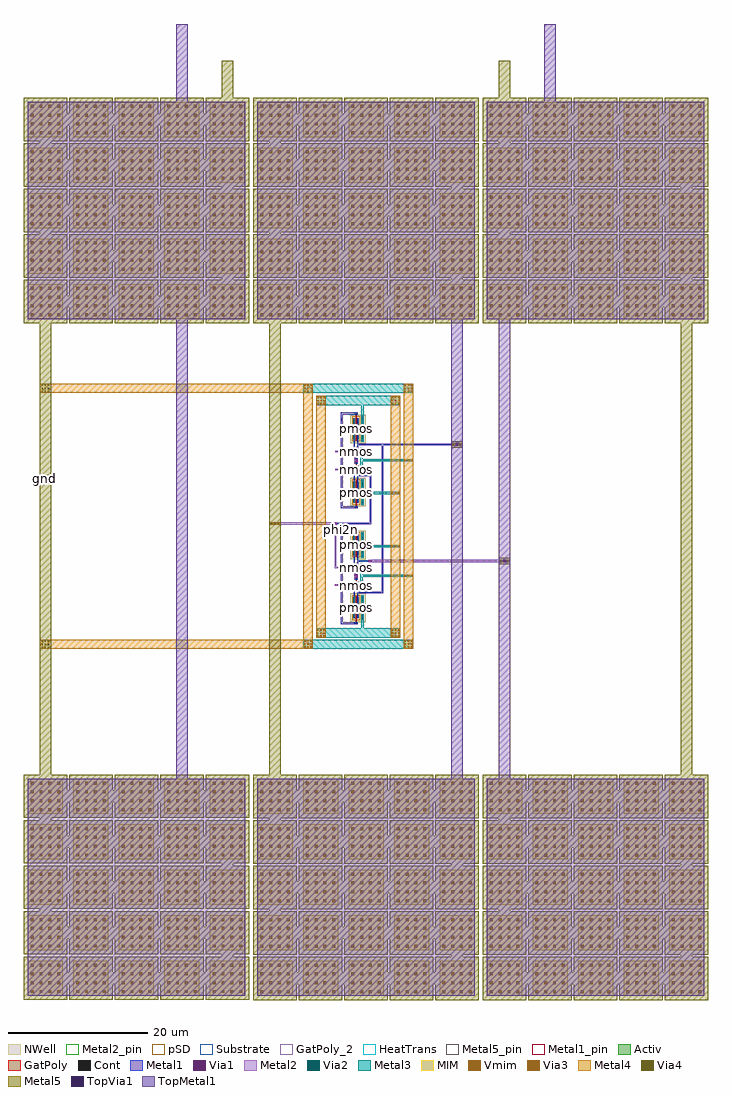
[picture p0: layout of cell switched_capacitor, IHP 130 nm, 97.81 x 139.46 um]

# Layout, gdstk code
import gdstk
lib = gdstk.Library(unit=1e-6, precision=1e-09)
def R(c, l, rs):  # rectangles x0, y0, x1, y1
    for r in rs: c.add(gdstk.rectangle(r[:2], r[2:], *l))
def A(c, l, x, y, w, h, nx, ny, dx, dy):  # array of equal rectangles
    R(c, l, [(x+i*dx, y+j*dy, x+i*dx+w, y+j*dy+h) for i in range(nx) for j in range(ny)])
Activ = (1, 0)
GatPoly = (5, 0)
GatPoly_2 = (5, 2)
Cont = (6, 0)
Metal1 = (8, 0)
Metal1_pin = (8, 2)
Metal2 = (10, 0)
Metal2_pin = (10, 2)
pSD = (14, 0)
Via1 = (19, 0)
Via2 = (29, 0)
Metal3 = (30, 0)
NWell = (31, 0)
MIM = (36, 0)
Substrate = (40, 0)
Via3 = (49, 0)
Metal4 = (50, 0)
HeatTrans = (51, 0)
Via4 = (66, 0)
Metal5 = (67, 0)
Metal5_pin = (67, 2)
TopVia1 = (125, 0)
TopMetal1 = (126, 0)
Vmim = (129, 0)

cmim_1 = lib.new_cell('cmim$1')
R(cmim_1, MIM, [(0,0,5,5)])
R(cmim_1, Metal5, [(-0.6,-0.6,5.6,5.6)])
R(cmim_1, TopMetal1, [(-0.02,-0.02,5.02,5.02)])
A(cmim_1, Vmim, 0.4, 0.4, 0.42, 0.42, 4, 4, 1.26, 1.26)

switched_capacitor = lib.new_cell('switched_capacitor')
R(switched_capacitor, Activ, [(22.9,-24.975,23.25,-21.365), (21.78,-24.675,22.59,-21.675), (21.78,-21.975,22.08,-21.675), (22.29,-21.975,22.59,-21.675), (22.8,-20.525,23.165,-19.36), (21.78,-20.435,22.59,-19.435), (21.78,-19.735,22.08,-19.435), (22.29,-19.735,22.59,-19.435), (22.8,-17.98,23.165,-16.815), (21.78,-17.905,22.08,-17.605), (21.78,-17.905,22.59,-16.905), (22.29,-17.905,22.59,-17.605), (22.9,-15.975,23.25,-12.365), (21.78,-15.665,22.08,-15.365), (21.78,-15.665,22.59,-12.665), (22.29,-15.665,22.59,-15.365), (22.9,-8.425,23.25,-4.815), (21.78,-8.125,22.59,-5.125), (21.78,-5.425,22.08,-5.125), (22.29,-5.425,22.59,-5.125), (22.8,-3.975,23.165,-2.81), (21.78,-3.885,22.59,-2.885), (21.78,-3.185,22.08,-2.885), (22.29,-3.185,22.59,-2.885), (22.8,-1.41,23.165,-0.245), (21.78,-1.335,22.08,-1.035), (21.78,-1.335,22.59,-0.335), (22.29,-1.335,22.59,-1.035), (22.9,0.595,23.25,4.205), (21.78,0.905,22.08,1.205), (21.78,0.905,22.59,3.905), (22.29,0.905,22.59,1.205)])
R(switched_capacitor, GatPoly, [(21.95,-25.52,22.44,-25.215), (22.12,-25.22,22.25,-24.81), (22.12,-24.855,22.25,-24.035), (22.12,-24.855,22.25,-21.495), (22.12,-24.855,22.25,-21.495), (22.12,-20.615,22.25,-19.255), (22.12,-19.435,22.25,-19.025), (21.945,-19.155,22.435,-18.85), (21.945,-18.49,22.435,-18.185), (22.12,-18.315,22.25,-17.905), (22.12,-18.085,22.25,-16.725), (22.12,-15.845,22.25,-12.485), (22.12,-15.845,22.25,-12.485), (22.12,-13.305,22.25,-12.485), (22.12,-12.53,22.25,-12.12), (21.95,-12.125,22.44,-11.82), (21.95,-8.97,22.44,-8.665), (22.12,-8.67,22.25,-8.26), (22.12,-8.305,22.25,-7.485), (22.12,-8.305,22.25,-4.945), (22.12,-8.305,22.25,-4.945), (22.12,-4.065,22.25,-2.705), (22.12,-2.885,22.25,-2.475), (21.94,-2.605,22.43,-2.3), (21.94,-1.92,22.43,-1.615), (22.12,-1.745,22.25,-1.335), (22.12,-1.515,22.25,-0.155), (22.12,0.725,22.25,4.085), (22.12,0.725,22.25,4.085), (22.12,3.265,22.25,4.085), (22.12,4.04,22.25,4.45), (21.95,4.445,22.44,4.75)])
R(switched_capacitor, GatPoly_2, [(22.12,-20.615,22.25,-19.255), (22.12,-18.085,22.25,-16.725), (22.12,-4.065,22.25,-2.705), (22.12,-1.515,22.25,-0.155)])
A(switched_capacitor, Cont, 21.85, -24.215, 0.16, 0.16, 1, 7, 0, 0.385)
A(switched_capacitor, Cont, 22.36, -24.215, 0.16, 0.16, 1, 7, 0, 0.385)
A(switched_capacitor, Cont, 22.995, -22.445, 0.16, 0.16, 1, 3, 0, 0.37)
A(switched_capacitor, Cont, 22.36, -20.365, 0.16, 0.16, 1, 3, 0, 0.35)
A(switched_capacitor, Cont, 22.36, -17.835, 0.16, 0.16, 1, 3, 0, 0.35)
A(switched_capacitor, Cont, 22.995, -15.795, 0.16, 0.16, 1, 3, 0, 0.37)
A(switched_capacitor, Cont, 21.85, -15.595, 0.16, 0.16, 1, 7, 0, 0.385)
A(switched_capacitor, Cont, 22.36, -15.595, 0.16, 0.16, 1, 7, 0, 0.385)
A(switched_capacitor, Cont, 21.85, -7.665, 0.16, 0.16, 1, 7, 0, 0.385)
A(switched_capacitor, Cont, 22.36, -7.665, 0.16, 0.16, 1, 7, 0, 0.385)
A(switched_capacitor, Cont, 22.995, -5.895, 0.16, 0.16, 1, 3, 0, 0.37)
A(switched_capacitor, Cont, 22.36, -3.815, 0.16, 0.16, 1, 3, 0, 0.35)
A(switched_capacitor, Cont, 21.85, -1.265, 0.16, 0.16, 1, 3, 0, 0.35)
A(switched_capacitor, Cont, 22.36, -1.265, 0.16, 0.16, 1, 3, 0, 0.35)
A(switched_capacitor, Cont, 22.995, 0.775, 0.16, 0.16, 1, 3, 0, 0.37)
A(switched_capacitor, Cont, 21.85, 0.975, 0.16, 0.16, 1, 7, 0, 0.385)
A(switched_capacitor, Cont, 22.36, 0.975, 0.16, 0.16, 1, 7, 0, 0.385)
R(switched_capacitor, Cont, [(22.11,-25.45,22.27,-25.29), (22.995,-24.695,23.155,-24.535), (21.85,-24.605,22.01,-24.445), (22.36,-24.605,22.52,-24.445), (22.995,-24.325,23.155,-24.165), (22.995,-23.94,23.155,-23.78), (22.995,-23.585,23.155,-23.425), (22.995,-23.2,23.155,-23.04), (22.995,-22.83,23.155,-22.67), (22.9,-20.405,23.06,-20.245), (21.85,-20.365,22.01,-20.205), (21.85,-20.365,22.01,-20.205), (21.85,-20.365,22.01,-20.205), (22.9,-20.02,23.06,-19.86), (21.85,-20.015,22.01,-19.855), (21.85,-20.015,22.01,-19.855), (21.85,-20.015,22.01,-19.855), (21.85,-19.665,22.01,-19.505), (21.85,-19.665,22.01,-19.505), (21.85,-19.665,22.01,-19.505), (22.9,-19.665,23.06,-19.505), (22.105,-19.085,22.265,-18.925), (22.105,-18.415,22.265,-18.255), (21.85,-17.835,22.01,-17.675), (21.85,-17.835,22.01,-17.675), (21.85,-17.835,22.01,-17.675), (22.9,-17.835,23.06,-17.675), (21.85,-17.485,22.01,-17.325), (21.85,-17.485,22.01,-17.325), (21.85,-17.485,22.01,-17.325), (22.9,-17.48,23.06,-17.32), (21.85,-17.135,22.01,-16.975), (21.85,-17.135,22.01,-16.975), (21.85,-17.135,22.01,-16.975), (22.9,-17.095,23.06,-16.935), (22.995,-14.67,23.155,-14.51), (22.995,-14.3,23.155,-14.14), (22.995,-13.915,23.155,-13.755), (22.995,-13.56,23.155,-13.4), (22.995,-13.175,23.155,-13.015), (21.85,-12.895,22.01,-12.735), (22.36,-12.895,22.52,-12.735), (22.995,-12.805,23.155,-12.645), (22.11,-12.05,22.27,-11.89), (22.11,-8.9,22.27,-8.74), (22.995,-8.145,23.155,-7.985), (21.85,-8.055,22.01,-7.895), (22.36,-8.055,22.52,-7.895), (22.995,-7.775,23.155,-7.615), (22.995,-7.39,23.155,-7.23), (22.995,-7.035,23.155,-6.875), (22.995,-6.65,23.155,-6.49), (22.995,-6.28,23.155,-6.12), (22.9,-3.855,23.06,-3.695), (21.85,-3.815,22.01,-3.655), (21.85,-3.815,22.01,-3.655), (22.9,-3.47,23.06,-3.31), (21.85,-3.465,22.01,-3.305), (21.85,-3.465,22.01,-3.305), (21.85,-3.115,22.01,-2.955), (21.85,-3.115,22.01,-2.955), (22.9,-3.115,23.06,-2.955), (22.1,-2.535,22.26,-2.375), (22.105,-1.845,22.265,-1.685), (22.9,-1.265,23.06,-1.105), (22.9,-0.91,23.06,-0.75), (22.9,-0.525,23.06,-0.365), (22.995,1.9,23.155,2.06), (22.995,2.27,23.155,2.43), (22.995,2.655,23.155,2.815), (22.995,3.01,23.155,3.17), (22.995,3.395,23.155,3.555), (21.85,3.675,22.01,3.835), (22.36,3.675,22.52,3.835), (22.995,3.765,23.155,3.925), (22.11,4.52,22.27,4.68)])
R(switched_capacitor, Metal1, [(19.985,-25.54,20.29,-11.82), (19.985,-25.52,22.44,-25.215), (21.95,-25.52,22.44,-25.215), (22.9,-24.975,23.25,-21.365), (21.85,-24.675,22.01,-21.675), (21.85,-24.675,22.01,-21.675), (22.36,-24.675,22.52,-21.675), (22.36,-24.675,22.52,-21.675), (21.85,-21.745,22.01,-20.365), (22.36,-21.745,22.52,-20.365), (22.36,-21.075,26.05,-20.86), (25.815,-21.075,26.05,0.285), (22.8,-20.525,23.165,-19.36), (21.61,-20.435,22.01,-19.435), (21.85,-20.435,22.01,-19.435), (21.85,-20.435,22.01,-19.435), (21.85,-20.435,22.01,-19.435), (22.36,-20.435,22.52,-19.435), (21.945,-19.155,22.435,-18.85), (21.945,-19.155,22.435,-18.185), (21.945,-18.49,22.435,-18.185), (22.8,-17.98,23.165,-16.815), (21.61,-17.905,22.01,-16.905), (21.85,-17.905,22.01,-16.905), (21.85,-17.905,22.01,-16.905), (21.85,-17.905,22.01,-16.905), (22.36,-17.905,22.52,-16.905), (21.85,-16.975,22.01,-15.595), (22.36,-16.975,22.52,-15.595), (24.02,-16.66,24.445,-16.285), (22.36,-16.57,24.33,-16.355), (22.9,-15.975,23.25,-12.365), (21.85,-15.665,22.01,-12.665), (21.85,-15.665,22.01,-12.665), (22.36,-15.665,22.52,-12.665), (22.36,-15.665,22.52,-12.665), (19.985,-12.125,22.44,-11.82), (21.95,-12.125,22.44,-11.82), (19,-11.325,19.425,-10.95), (19.1,-11.24,24.33,-11.025), (24.115,-11.24,24.33,-4.175), (19.985,-8.97,22.44,-8.665), (19.985,-8.97,20.29,4.75), (21.95,-8.97,22.44,-8.665), (22.9,-8.425,23.25,-4.815), (21.85,-8.125,22.01,-5.125), (21.85,-8.125,22.01,-5.125), (22.36,-8.125,22.52,-5.125), (22.36,-8.125,22.52,-5.125), (21.85,-5.195,22.01,-3.815), (22.36,-5.195,22.52,-3.815), (22.36,-4.39,24.33,-4.175), (22.8,-3.975,23.165,-2.81), (21.61,-3.885,22.01,-2.885), (21.85,-3.885,22.01,-2.885), (21.85,-3.885,22.01,-2.885), (22.36,-3.885,22.52,-2.885), (21.94,-2.605,22.43,-2.3), (21.94,-2.605,22.43,-1.615), (21.94,-1.92,22.43,-1.615), (22.8,-1.41,23.165,-0.245), (21.61,-1.335,22.01,-0.335), (21.85,-1.335,22.01,-0.335), (22.36,-1.335,22.52,-0.335), (21.85,-0.405,22.01,0.975), (22.36,-0.405,22.52,0.975), (35.76,0.02,37.44,0.34), (22.36,0.07,26.05,0.285), (25.815,0.07,37.44,0.285), (22.9,0.595,23.25,4.205), (21.85,0.905,22.01,3.905), (21.85,0.905,22.01,3.905), (22.36,0.905,22.52,3.905), (22.36,0.905,22.52,3.905), (19.985,4.445,22.44,4.75), (21.95,4.445,22.44,4.75)])
R(switched_capacitor, Metal1_pin, [(21.85,-20.435,22.01,-19.435), (21.85,-20.435,22.01,-19.435), (21.85,-20.435,22.01,-19.435), (22.36,-20.435,22.52,-19.435), (21.85,-17.905,22.01,-16.905), (21.85,-17.905,22.01,-16.905), (21.85,-17.905,22.01,-16.905), (22.36,-17.905,22.52,-16.905), (20.02,-12.045,20.215,-11.865), (21.85,-3.885,22.01,-2.885), (21.85,-3.885,22.01,-2.885), (22.36,-3.885,22.52,-2.885), (21.85,-1.335,22.01,-0.335), (22.36,-1.335,22.52,-0.335), (20.04,3.575,20.24,3.91)])
R(switched_capacitor, Metal2, [(22.9,-24.975,23.25,-21.365), (22.8,-20.525,23.165,-19.36), (22.8,-20.525,23.165,-19.36), (21.61,-20.435,22.01,-19.435), (19.1,-20.03,21.7,-19.815), (21.945,-18.87,22.435,-18.49), (22.8,-17.98,23.165,-16.815), (22.8,-17.98,23.165,-16.815), (21.61,-17.905,22.01,-16.905), (19.1,-17.505,21.7,-17.29), (19.1,-17.505,19.315,-11.025), (24.02,-16.66,24.445,-16.285), (24.02,-16.66,44.24,-16.285), (42.56,-16.63,44.24,-16.31), (22.9,-15.975,23.25,-12.365), (9.76,-11.325,19.425,-10.95), (19,-11.325,19.425,-10.95), (9.76,-11.3,11.44,-10.98), (22.9,-8.425,23.25,-4.815), (22.8,-3.975,23.165,-2.81), (22.8,-3.975,23.165,-2.81), (21.61,-3.885,22.01,-2.885), (19.175,-3.49,21.775,-3.275), (21.94,-2.3,22.43,-1.92), (22.8,-1.41,23.165,-0.245), (22.8,-1.41,23.165,-0.245), (21.61,-1.335,22.01,-0.335), (19.175,-0.94,21.775,-0.725), (35.76,0.02,37.44,0.34), (22.9,0.595,23.25,4.205)])
R(switched_capacitor, Metal2_pin, [(19.16,-19.985,19.355,-19.84), (22.115,-18.765,22.265,-18.615), (19.22,-3.46,19.365,-3.295), (22.11,-2.195,22.26,-2.045), (19.22,-0.91,19.365,-0.745)])
R(switched_capacitor, pSD, [(21.6,-24.975,22.77,-21.375), (22.77,-20.555,23.2,-19.33), (22.77,-18.01,23.2,-16.785), (21.6,-15.965,22.77,-12.365), (21.6,-8.425,22.77,-4.825), (22.77,-4.005,23.2,-2.78), (22.77,-1.44,23.2,-0.215), (21.6,0.605,22.77,4.205)])
A(switched_capacitor, Via1, 22.98, -24.34, 0.19, 0.19, 1, 4, 0, 0.42)
A(switched_capacitor, Via1, 22.98, -15.28, 0.19, 0.19, 1, 3, 0, 0.415)
A(switched_capacitor, Via1, 22.98, -14.03, 0.19, 0.19, 1, 3, 0, 0.42)
A(switched_capacitor, Via1, 22.98, -7.79, 0.19, 0.19, 1, 4, 0, 0.42)
A(switched_capacitor, Via1, 22.98, 1.29, 0.19, 0.19, 1, 3, 0, 0.415)
A(switched_capacitor, Via1, 22.98, 2.54, 0.19, 0.19, 1, 3, 0, 0.42)
R(switched_capacitor, Via1, [(22.98,-24.755,23.17,-24.565), (22.98,-22.665,23.17,-22.475), (22.98,-22.25,23.17,-22.06), (22.98,-21.83,23.17,-21.64), (22.885,-20.37,23.075,-20.18), (22.885,-20.37,23.075,-20.18), (21.725,-20.225,21.915,-20.035), (21.725,-19.815,21.915,-19.625), (22.885,-19.76,23.075,-19.57), (22.885,-19.76,23.075,-19.57), (22.1,-18.785,22.29,-18.595), (22.885,-17.77,23.075,-17.58), (22.885,-17.77,23.075,-17.58), (21.725,-17.695,21.915,-17.505), (21.725,-17.285,21.915,-17.095), (22.885,-17.16,23.075,-16.97), (22.885,-17.16,23.075,-16.97), (24.13,-16.56,24.32,-16.37), (22.98,-15.7,23.17,-15.51), (22.98,-12.775,23.17,-12.585), (19.11,-11.225,19.3,-11.035), (22.98,-8.205,23.17,-8.015), (22.98,-6.115,23.17,-5.925), (22.98,-5.7,23.17,-5.51), (22.98,-5.28,23.17,-5.09), (22.885,-3.82,23.075,-3.63), (22.885,-3.82,23.075,-3.63), (21.725,-3.675,21.915,-3.485), (21.725,-3.265,21.915,-3.075), (22.885,-3.21,23.075,-3.02), (22.885,-3.21,23.075,-3.02), (22.095,-2.215,22.285,-2.025), (22.885,-1.2,23.075,-1.01), (22.885,-1.2,23.075,-1.01), (21.725,-1.125,21.915,-0.935), (21.725,-0.715,21.915,-0.525), (22.885,-0.59,23.075,-0.4), (22.885,-0.59,23.075,-0.4), (35.95,0.085,36.14,0.275), (36.455,0.085,36.645,0.275), (36.955,0.085,37.145,0.275), (22.98,0.87,23.17,1.06), (22.98,3.795,23.17,3.985)])
A(switched_capacitor, Via2, 22.98, -24.34, 0.19, 0.19, 1, 4, 0, 0.42)
A(switched_capacitor, Via2, 22.98, -15.28, 0.19, 0.19, 1, 3, 0, 0.415)
A(switched_capacitor, Via2, 22.98, -14.03, 0.19, 0.19, 1, 3, 0, 0.42)
A(switched_capacitor, Via2, 22.98, -7.79, 0.19, 0.19, 1, 4, 0, 0.42)
A(switched_capacitor, Via2, 22.98, 1.29, 0.19, 0.19, 1, 3, 0, 0.415)
A(switched_capacitor, Via2, 22.98, 2.54, 0.19, 0.19, 1, 3, 0, 0.42)
R(switched_capacitor, Via2, [(22.98,-24.755,23.17,-24.565), (22.98,-22.665,23.17,-22.475), (22.98,-22.25,23.17,-22.06), (22.98,-21.83,23.17,-21.64), (22.885,-20.37,23.075,-20.18), (22.885,-20.37,23.075,-20.18), (22.885,-19.76,23.075,-19.57), (22.885,-19.76,23.075,-19.57), (22.885,-17.77,23.075,-17.58), (22.885,-17.77,23.075,-17.58), (22.885,-17.16,23.075,-16.97), (22.885,-17.16,23.075,-16.97), (42.75,-16.565,42.94,-16.375), (43.255,-16.565,43.445,-16.375), (43.755,-16.565,43.945,-16.375), (22.98,-15.7,23.17,-15.51), (22.98,-12.775,23.17,-12.585), (9.95,-11.235,10.14,-11.045), (10.455,-11.235,10.645,-11.045), (10.955,-11.235,11.145,-11.045), (22.98,-8.205,23.17,-8.015), (22.98,-6.115,23.17,-5.925), (22.98,-5.7,23.17,-5.51), (22.98,-5.28,23.17,-5.09), (22.885,-3.82,23.075,-3.63), (22.885,-3.82,23.075,-3.63), (22.885,-3.21,23.075,-3.02), (22.885,-3.21,23.075,-3.02), (22.885,-1.2,23.075,-1.01), (22.885,-1.2,23.075,-1.01), (22.885,-0.59,23.075,-0.4), (22.885,-0.59,23.075,-0.4), (35.95,0.085,36.14,0.275), (36.455,0.085,36.645,0.275), (36.955,0.085,37.145,0.275), (22.98,0.87,23.17,1.06), (22.98,3.795,23.17,3.985)])
R(switched_capacitor, Metal3, [(14.655,-29.035,30.315,-27.705), (16.485,-27.435,28.485,-26.105), (22.9,-27.435,23.25,-24.755), (22.9,-24.975,23.25,-21.365), (22.8,-20.525,23.165,-19.36), (22.8,-20.525,23.165,-16.815), (22.8,-18.725,30.315,-18.405), (22.8,-17.98,23.165,-16.815), (42.56,-16.63,44.24,-16.31), (22.9,-15.975,23.25,-12.365), (22.9,-14.525,28.485,-14.205), (9.76,-11.3,11.44,-10.98), (22.9,-8.425,23.25,-4.815), (22.9,-6.905,28.485,-6.585), (22.8,-3.975,23.165,-2.81), (22.8,-3.975,23.165,-0.245), (22.8,-2.225,30.315,-1.905), (22.8,-1.41,23.165,-0.245), (35.76,0.02,37.44,0.34), (22.9,0.595,23.25,4.205), (22.9,3.985,23.25,7.13), (16.485,5.8,28.485,7.13), (14.655,7.54,30.315,8.87)])
R(switched_capacitor, NWell, [(21.35,-25.22,23.525,-21.095), (21.47,-24.985,22.9,-21.365), (21.35,-16.245,23.525,-12.12), (21.47,-15.975,22.9,-12.355), (21.35,-8.67,23.525,-4.545), (21.47,-8.435,22.9,-4.815), (21.35,0.325,23.525,4.45), (21.47,0.595,22.9,4.215)])
R(switched_capacitor, Substrate, [(22.29,-21.975,22.59,-21.675), (22.29,-15.665,22.59,-15.365), (22.29,-5.425,22.59,-5.125), (22.29,0.905,22.59,1.205)])
R(switched_capacitor, Via3, [(29.12,-28.865,29.31,-28.675), (29.12,-28.865,29.31,-28.675), (29.56,-28.865,29.75,-28.675), (29.56,-28.865,29.75,-28.675), (30.01,-28.865,30.2,-28.675), (30.01,-28.865,30.2,-28.675), (14.77,-28.86,14.96,-28.67), (14.77,-28.86,14.96,-28.67), (15.21,-28.86,15.4,-28.67), (15.21,-28.86,15.4,-28.67), (15.66,-28.86,15.85,-28.67), (15.66,-28.86,15.85,-28.67), (29.12,-28.45,29.31,-28.26), (29.12,-28.45,29.31,-28.26), (29.56,-28.45,29.75,-28.26), (29.56,-28.45,29.75,-28.26), (30.01,-28.45,30.2,-28.26), (30.01,-28.45,30.2,-28.26), (14.77,-28.445,14.96,-28.255), (14.77,-28.445,14.96,-28.255), (15.21,-28.445,15.4,-28.255), (15.21,-28.445,15.4,-28.255), (15.66,-28.445,15.85,-28.255), (15.66,-28.445,15.85,-28.255), (29.12,-28,29.31,-27.81), (29.12,-28,29.31,-27.81), (29.56,-28,29.75,-27.81), (29.56,-28,29.75,-27.81), (30.01,-28,30.2,-27.81), (30.01,-28,30.2,-27.81), (14.77,-27.995,14.96,-27.805), (14.77,-27.995,14.96,-27.805), (15.21,-27.995,15.4,-27.805), (15.21,-27.995,15.4,-27.805), (15.66,-27.995,15.85,-27.805), (15.66,-27.995,15.85,-27.805), (16.615,-27.305,16.805,-27.115), (16.615,-27.305,16.805,-27.115), (17.055,-27.305,17.245,-27.115), (17.055,-27.305,17.245,-27.115), (17.505,-27.305,17.695,-27.115), (17.505,-27.305,17.695,-27.115), (27.295,-27.29,27.485,-27.1), (27.295,-27.29,27.485,-27.1), (27.735,-27.29,27.925,-27.1), (27.735,-27.29,27.925,-27.1), (28.185,-27.29,28.375,-27.1), (28.185,-27.29,28.375,-27.1), (16.615,-26.89,16.805,-26.7), (16.615,-26.89,16.805,-26.7), (17.055,-26.89,17.245,-26.7), (17.055,-26.89,17.245,-26.7), (17.505,-26.89,17.695,-26.7), (17.505,-26.89,17.695,-26.7), (27.295,-26.875,27.485,-26.685), (27.295,-26.875,27.485,-26.685), (27.735,-26.875,27.925,-26.685), (27.735,-26.875,27.925,-26.685), (28.185,-26.875,28.375,-26.685), (28.185,-26.875,28.375,-26.685), (16.615,-26.44,16.805,-26.25), (16.615,-26.44,16.805,-26.25), (17.055,-26.44,17.245,-26.25), (17.055,-26.44,17.245,-26.25), (17.505,-26.44,17.695,-26.25), (17.505,-26.44,17.695,-26.25), (27.295,-26.425,27.485,-26.235), (27.295,-26.425,27.485,-26.235), (27.735,-26.425,27.925,-26.235), (27.735,-26.425,27.925,-26.235), (28.185,-26.425,28.375,-26.235), (28.185,-26.425,28.375,-26.235), (29.085,-18.66,29.275,-18.47), (29.565,-18.66,29.755,-18.47), (30.035,-18.66,30.225,-18.47), (42.75,-16.565,42.94,-16.375), (43.255,-16.565,43.445,-16.375), (43.755,-16.565,43.945,-16.375), (27.25,-14.465,27.44,-14.275), (27.73,-14.465,27.92,-14.275), (28.2,-14.465,28.39,-14.275), (9.95,-11.235,10.14,-11.045), (10.455,-11.235,10.645,-11.045), (10.955,-11.235,11.145,-11.045), (27.25,-6.845,27.44,-6.655), (27.73,-6.845,27.92,-6.655), (28.2,-6.845,28.39,-6.655), (29.085,-2.16,29.275,-1.97), (29.565,-2.16,29.755,-1.97), (30.035,-2.16,30.225,-1.97), (35.95,0.085,36.14,0.275), (36.455,0.085,36.645,0.275), (36.955,0.085,37.145,0.275), (16.62,5.92,16.81,6.11), (17.06,5.92,17.25,6.11), (17.51,5.92,17.7,6.11), (27.285,5.945,27.475,6.135), (27.725,5.945,27.915,6.135), (28.175,5.945,28.365,6.135), (16.62,6.335,16.81,6.525), (17.06,6.335,17.25,6.525), (17.51,6.335,17.7,6.525), (27.285,6.36,27.475,6.55), (27.725,6.36,27.915,6.55), (28.175,6.36,28.365,6.55), (16.62,6.785,16.81,6.975), (17.06,6.785,17.25,6.975), (17.51,6.785,17.7,6.975), (27.285,6.81,27.475,7), (27.725,6.81,27.915,7), (28.175,6.81,28.365,7), (14.78,7.655,14.97,7.845), (14.78,7.655,14.97,7.845), (15.22,7.655,15.41,7.845), (15.22,7.655,15.41,7.845), (15.67,7.655,15.86,7.845), (15.67,7.655,15.86,7.845), (29.115,7.685,29.305,7.875), (29.115,7.685,29.305,7.875), (29.555,7.685,29.745,7.875), (29.555,7.685,29.745,7.875), (30.005,7.685,30.195,7.875), (30.005,7.685,30.195,7.875), (14.78,8.07,14.97,8.26), (14.78,8.07,14.97,8.26), (15.22,8.07,15.41,8.26), (15.22,8.07,15.41,8.26), (15.67,8.07,15.86,8.26), (15.67,8.07,15.86,8.26), (29.115,8.1,29.305,8.29), (29.115,8.1,29.305,8.29), (29.555,8.1,29.745,8.29), (29.555,8.1,29.745,8.29), (30.005,8.1,30.195,8.29), (30.005,8.1,30.195,8.29), (14.78,8.52,14.97,8.71), (14.78,8.52,14.97,8.71), (15.22,8.52,15.41,8.71), (15.22,8.52,15.41,8.71), (15.67,8.52,15.86,8.71), (15.67,8.52,15.86,8.71), (29.115,8.55,29.305,8.74), (29.115,8.55,29.305,8.74), (29.555,8.55,29.745,8.74), (29.555,8.55,29.745,8.74), (30.005,8.55,30.195,8.74), (30.005,8.55,30.195,8.74)])
R(switched_capacitor, Metal4, [(-23.05,-29.035,15.985,-27.705), (14.655,-29.035,15.985,8.87), (28.985,-29.035,30.315,8.87), (16.485,-27.435,17.815,7.13), (27.155,-27.435,28.485,7.13), (42.56,-16.63,44.24,-16.31), (9.76,-11.3,11.44,-10.98), (35.76,0.02,37.44,0.34), (-23.05,7.54,15.985,8.87)])
R(switched_capacitor, HeatTrans, [(22.12,-24.855,22.25,-21.495), (22.12,-20.615,22.25,-19.255), (22.12,-18.085,22.25,-16.725), (22.12,-15.845,22.25,-12.485), (22.12,-8.305,22.25,-4.945), (22.12,-4.065,22.25,-2.705), (22.12,-1.515,22.25,-0.155), (22.12,0.725,22.25,4.085)])
R(switched_capacitor, Via4, [(-22.765,-28.9,-22.575,-28.71), (-22.325,-28.9,-22.135,-28.71), (-21.875,-28.9,-21.685,-28.71), (-22.765,-28.485,-22.575,-28.295), (-22.325,-28.485,-22.135,-28.295), (-21.875,-28.485,-21.685,-28.295), (-22.765,-28.035,-22.575,-27.845), (-22.325,-28.035,-22.135,-27.845), (-21.875,-28.035,-21.685,-27.845), (42.75,-16.565,42.94,-16.375), (43.255,-16.565,43.445,-16.375), (43.755,-16.565,43.945,-16.375), (9.95,-11.235,10.14,-11.045), (10.455,-11.235,10.645,-11.045), (10.955,-11.235,11.145,-11.045), (35.95,0.085,36.14,0.275), (36.455,0.085,36.645,0.275), (36.955,0.085,37.145,0.275), (-22.765,7.675,-22.575,7.865), (-22.325,7.675,-22.135,7.865), (-21.875,7.675,-21.685,7.865), (-22.765,8.09,-22.575,8.28), (-22.325,8.09,-22.135,8.28), (-21.875,8.09,-21.685,8.28), (-22.765,8.54,-22.575,8.73), (-22.325,8.54,-22.135,8.73), (-21.875,8.54,-21.685,8.73)])
A(switched_capacitor, Metal5, 9.76, -76.94, 27.68, 1.68, 1, 5, 0, 6.5)
A(switched_capacitor, Metal5, 42.56, -76.94, 27.68, 1.68, 1, 5, 0, 6.5)
A(switched_capacitor, Metal5, -23.05, -76.935, 27.68, 1.68, 1, 5, 0, 6.5)
A(switched_capacitor, Metal5, 9.76, 19.76, 27.68, 1.68, 1, 5, 0, 6.5)
A(switched_capacitor, Metal5, 42.56, 19.76, 27.68, 1.68, 1, 5, 0, 6.5)
A(switched_capacitor, Metal5, -23.05, 19.765, 27.68, 1.68, 1, 5, 0, 6.5)
R(switched_capacitor, Metal5, [(35.76,-76.94,37.44,-68.76), (68.56,-76.94,70.24,-68.76), (2.95,-76.935,4.63,-68.755), (9.76,-70.44,11.44,-62.26), (42.56,-70.44,44.24,-62.26), (-23.05,-70.435,-21.37,-62.255), (35.76,-63.94,37.44,-55.76), (68.56,-63.94,70.24,-55.76), (2.95,-63.935,4.63,-55.755), (9.76,-57.44,11.44,-49.26), (42.56,-57.44,44.24,-49.26), (-23.05,-57.435,-21.37,-49.255), (9.76,-49.26,11.44,19.76), (68.56,-49.26,70.24,19.76), (-23.05,-49.255,-21.37,19.765), (42.56,-16.955,44.24,-15.98), (42.56,-16.63,44.24,-16.31), (35.76,-0.305,37.44,0.67), (35.76,0.02,37.44,0.34), (35.76,19.76,37.44,27.94), (68.56,19.76,70.24,27.94), (2.95,19.765,4.63,27.945), (9.76,26.26,11.44,34.44), (42.56,26.26,44.24,34.44), (-23.05,26.265,-21.37,34.445), (35.76,32.76,37.44,40.94), (68.56,32.76,70.24,40.94), (2.95,32.765,4.63,40.945), (9.76,39.26,11.44,47.44), (42.56,39.26,44.24,47.44), (-23.05,39.265,-21.37,47.445), (2.95,47.445,4.63,55), (42.56,47.445,44.24,55)])
R(switched_capacitor, Metal5_pin, [(-22.83,-5.34,-21.585,-4.16)])
R(switched_capacitor, TopVia1, [(43.185,-16.68,43.605,-16.26), (36.385,-0.03,36.805,0.39)])
R(switched_capacitor, TopMetal1, [(8.08,-78.62,39.12,-47.58), (40.88,-78.62,71.92,-47.58), (-24.73,-78.615,6.31,-47.575), (35.76,-49.26,37.44,19.76), (42.56,-49.26,44.24,19.76), (-3.55,-49.255,-1.87,19.765), (8.08,18.08,39.12,49.12), (40.88,18.08,71.92,49.12), (-24.73,18.085,6.31,49.125), (-3.55,48.7,-1.87,60.255), (49.06,48.7,50.74,60.255)])
switched_capacitor.add(gdstk.Reference(cmim_1, (21.1,18.1)))
switched_capacitor.add(gdstk.Reference(cmim_1, (21.1,24.6)))
switched_capacitor.add(gdstk.Reference(cmim_1, (21.1,31.1)))
switched_capacitor.add(gdstk.Reference(cmim_1, (21.1,37.6)))
switched_capacitor.add(gdstk.Reference(cmim_1, (21.1,44.1)))
switched_capacitor.add(gdstk.Reference(cmim_1, (21.1,-52.6)))
switched_capacitor.add(gdstk.Reference(cmim_1, (21.1,-59.1)))
switched_capacitor.add(gdstk.Reference(cmim_1, (21.1,-65.6)))
switched_capacitor.add(gdstk.Reference(cmim_1, (21.1,-72.1)))
switched_capacitor.add(gdstk.Reference(cmim_1, (21.1,-78.6)))
switched_capacitor.add(gdstk.Reference(cmim_1, (34.1,24.6)))
switched_capacitor.add(gdstk.Reference(cmim_1, (34.1,18.1)))
switched_capacitor.add(gdstk.Reference(cmim_1, (27.6,31.1)))
switched_capacitor.add(gdstk.Reference(cmim_1, (34.1,31.1)))
switched_capacitor.add(gdstk.Reference(cmim_1, (40.9,18.1)))
switched_capacitor.add(gdstk.Reference(cmim_1, (27.6,37.6)))
switched_capacitor.add(gdstk.Reference(cmim_1, (34.1,37.6)))
switched_capacitor.add(gdstk.Reference(cmim_1, (47.4,18.1)))
switched_capacitor.add(gdstk.Reference(cmim_1, (27.6,44.1)))
switched_capacitor.add(gdstk.Reference(cmim_1, (34.1,44.1)))
switched_capacitor.add(gdstk.Reference(cmim_1, (40.9,24.6)))
switched_capacitor.add(gdstk.Reference(cmim_1, (47.4,24.6)))
switched_capacitor.add(gdstk.Reference(cmim_1, (53.9,24.6)))
switched_capacitor.add(gdstk.Reference(cmim_1, (60.4,24.6)))
switched_capacitor.add(gdstk.Reference(cmim_1, (66.9,24.6)))
switched_capacitor.add(gdstk.Reference(cmim_1, (40.9,31.1)))
switched_capacitor.add(gdstk.Reference(cmim_1, (47.4,31.1)))
switched_capacitor.add(gdstk.Reference(cmim_1, (53.9,31.1)))
switched_capacitor.add(gdstk.Reference(cmim_1, (60.4,31.1)))
switched_capacitor.add(gdstk.Reference(cmim_1, (66.9,31.1)))
switched_capacitor.add(gdstk.Reference(cmim_1, (40.9,37.6)))
switched_capacitor.add(gdstk.Reference(cmim_1, (47.4,37.6)))
switched_capacitor.add(gdstk.Reference(cmim_1, (53.9,37.6)))
switched_capacitor.add(gdstk.Reference(cmim_1, (60.4,37.6)))
switched_capacitor.add(gdstk.Reference(cmim_1, (66.9,37.6)))
switched_capacitor.add(gdstk.Reference(cmim_1, (40.9,44.1)))
switched_capacitor.add(gdstk.Reference(cmim_1, (47.4,44.1)))
switched_capacitor.add(gdstk.Reference(cmim_1, (53.9,44.1)))
switched_capacitor.add(gdstk.Reference(cmim_1, (60.4,44.1)))
switched_capacitor.add(gdstk.Reference(cmim_1, (66.9,44.1)))
switched_capacitor.add(gdstk.Reference(cmim_1, (53.9,18.1)))
switched_capacitor.add(gdstk.Reference(cmim_1, (60.4,18.1)))
switched_capacitor.add(gdstk.Reference(cmim_1, (66.9,18.1)))
switched_capacitor.add(gdstk.Reference(cmim_1, (27.6,18.1)))
switched_capacitor.add(gdstk.Reference(cmim_1, (27.6,24.6)))
switched_capacitor.add(gdstk.Reference(cmim_1, (8.1,44.1)))
switched_capacitor.add(gdstk.Reference(cmim_1, (14.6,44.1)))
switched_capacitor.add(gdstk.Reference(cmim_1, (14.6,24.6)))
switched_capacitor.add(gdstk.Reference(cmim_1, (8.1,18.1)))
switched_capacitor.add(gdstk.Reference(cmim_1, (14.6,18.1)))
switched_capacitor.add(gdstk.Reference(cmim_1, (-24.71,18.105)))
switched_capacitor.add(gdstk.Reference(cmim_1, (-18.21,18.105)))
switched_capacitor.add(gdstk.Reference(cmim_1, (-11.71,18.105)))
switched_capacitor.add(gdstk.Reference(cmim_1, (-5.21,18.105)))
switched_capacitor.add(gdstk.Reference(cmim_1, (1.29,18.105)))
switched_capacitor.add(gdstk.Reference(cmim_1, (-24.71,24.605)))
switched_capacitor.add(gdstk.Reference(cmim_1, (-18.21,24.605)))
switched_capacitor.add(gdstk.Reference(cmim_1, (-11.71,24.605)))
switched_capacitor.add(gdstk.Reference(cmim_1, (-5.21,24.605)))
switched_capacitor.add(gdstk.Reference(cmim_1, (1.29,24.605)))
switched_capacitor.add(gdstk.Reference(cmim_1, (-24.71,31.105)))
switched_capacitor.add(gdstk.Reference(cmim_1, (-18.21,31.105)))
switched_capacitor.add(gdstk.Reference(cmim_1, (-11.71,31.105)))
switched_capacitor.add(gdstk.Reference(cmim_1, (-5.21,31.105)))
switched_capacitor.add(gdstk.Reference(cmim_1, (1.29,31.105)))
switched_capacitor.add(gdstk.Reference(cmim_1, (-24.71,37.605)))
switched_capacitor.add(gdstk.Reference(cmim_1, (-18.21,37.605)))
switched_capacitor.add(gdstk.Reference(cmim_1, (-11.71,37.605)))
switched_capacitor.add(gdstk.Reference(cmim_1, (-5.21,37.605)))
switched_capacitor.add(gdstk.Reference(cmim_1, (1.29,37.605)))
switched_capacitor.add(gdstk.Reference(cmim_1, (-24.71,44.105)))
switched_capacitor.add(gdstk.Reference(cmim_1, (-18.21,44.105)))
switched_capacitor.add(gdstk.Reference(cmim_1, (-11.71,44.105)))
switched_capacitor.add(gdstk.Reference(cmim_1, (-5.21,44.105)))
switched_capacitor.add(gdstk.Reference(cmim_1, (1.29,44.105)))
switched_capacitor.add(gdstk.Reference(cmim_1, (8.1,37.6)))
switched_capacitor.add(gdstk.Reference(cmim_1, (14.6,37.6)))
switched_capacitor.add(gdstk.Reference(cmim_1, (8.1,24.6)))
switched_capacitor.add(gdstk.Reference(cmim_1, (8.1,31.1)))
switched_capacitor.add(gdstk.Reference(cmim_1, (14.6,31.1)))
switched_capacitor.add(gdstk.Reference(cmim_1, (1.29,-59.095)))
switched_capacitor.add(gdstk.Reference(cmim_1, (-5.21,-59.095)))
switched_capacitor.add(gdstk.Reference(cmim_1, (-11.71,-59.095)))
switched_capacitor.add(gdstk.Reference(cmim_1, (-18.21,-59.095)))
switched_capacitor.add(gdstk.Reference(cmim_1, (-24.71,-59.095)))
switched_capacitor.add(gdstk.Reference(cmim_1, (1.29,-65.595)))
switched_capacitor.add(gdstk.Reference(cmim_1, (-5.21,-65.595)))
switched_capacitor.add(gdstk.Reference(cmim_1, (-11.71,-65.595)))
switched_capacitor.add(gdstk.Reference(cmim_1, (-18.21,-65.595)))
switched_capacitor.add(gdstk.Reference(cmim_1, (-24.71,-65.595)))
switched_capacitor.add(gdstk.Reference(cmim_1, (1.29,-72.095)))
switched_capacitor.add(gdstk.Reference(cmim_1, (-5.21,-72.095)))
switched_capacitor.add(gdstk.Reference(cmim_1, (-11.71,-72.095)))
switched_capacitor.add(gdstk.Reference(cmim_1, (-18.21,-72.095)))
switched_capacitor.add(gdstk.Reference(cmim_1, (-24.71,-72.095)))
switched_capacitor.add(gdstk.Reference(cmim_1, (1.29,-78.595)))
switched_capacitor.add(gdstk.Reference(cmim_1, (-5.21,-78.595)))
switched_capacitor.add(gdstk.Reference(cmim_1, (-11.71,-78.595)))
switched_capacitor.add(gdstk.Reference(cmim_1, (-18.21,-78.595)))
switched_capacitor.add(gdstk.Reference(cmim_1, (-24.71,-78.595)))
switched_capacitor.add(gdstk.Reference(cmim_1, (1.29,-52.595)))
switched_capacitor.add(gdstk.Reference(cmim_1, (14.6,-52.6)))
switched_capacitor.add(gdstk.Reference(cmim_1, (8.1,-52.6)))
switched_capacitor.add(gdstk.Reference(cmim_1, (-5.21,-52.595)))
switched_capacitor.add(gdstk.Reference(cmim_1, (14.6,-59.1)))
switched_capacitor.add(gdstk.Reference(cmim_1, (8.1,-59.1)))
switched_capacitor.add(gdstk.Reference(cmim_1, (-11.71,-52.595)))
switched_capacitor.add(gdstk.Reference(cmim_1, (14.6,-65.6)))
switched_capacitor.add(gdstk.Reference(cmim_1, (8.1,-65.6)))
switched_capacitor.add(gdstk.Reference(cmim_1, (-18.21,-52.595)))
switched_capacitor.add(gdstk.Reference(cmim_1, (14.6,-72.1)))
switched_capacitor.add(gdstk.Reference(cmim_1, (8.1,-72.1)))
switched_capacitor.add(gdstk.Reference(cmim_1, (-24.71,-52.595)))
switched_capacitor.add(gdstk.Reference(cmim_1, (14.6,-78.6)))
switched_capacitor.add(gdstk.Reference(cmim_1, (8.1,-78.6)))
switched_capacitor.add(gdstk.Reference(cmim_1, (66.9,-72.1)))
switched_capacitor.add(gdstk.Reference(cmim_1, (60.4,-72.1)))
switched_capacitor.add(gdstk.Reference(cmim_1, (53.9,-72.1)))
switched_capacitor.add(gdstk.Reference(cmim_1, (47.4,-72.1)))
switched_capacitor.add(gdstk.Reference(cmim_1, (40.9,-72.1)))
switched_capacitor.add(gdstk.Reference(cmim_1, (34.1,-52.6)))
switched_capacitor.add(gdstk.Reference(cmim_1, (27.6,-52.6)))
switched_capacitor.add(gdstk.Reference(cmim_1, (66.9,-52.6)))
switched_capacitor.add(gdstk.Reference(cmim_1, (60.4,-52.6)))
switched_capacitor.add(gdstk.Reference(cmim_1, (53.9,-52.6)))
switched_capacitor.add(gdstk.Reference(cmim_1, (34.1,-59.1)))
switched_capacitor.add(gdstk.Reference(cmim_1, (27.6,-59.1)))
switched_capacitor.add(gdstk.Reference(cmim_1, (47.4,-52.6)))
switched_capacitor.add(gdstk.Reference(cmim_1, (40.9,-52.6)))
switched_capacitor.add(gdstk.Reference(cmim_1, (66.9,-59.1)))
switched_capacitor.add(gdstk.Reference(cmim_1, (34.1,-65.6)))
switched_capacitor.add(gdstk.Reference(cmim_1, (27.6,-65.6)))
switched_capacitor.add(gdstk.Reference(cmim_1, (60.4,-59.1)))
switched_capacitor.add(gdstk.Reference(cmim_1, (53.9,-59.1)))
switched_capacitor.add(gdstk.Reference(cmim_1, (47.4,-59.1)))
switched_capacitor.add(gdstk.Reference(cmim_1, (34.1,-72.1)))
switched_capacitor.add(gdstk.Reference(cmim_1, (27.6,-72.1)))
switched_capacitor.add(gdstk.Reference(cmim_1, (40.9,-59.1)))
switched_capacitor.add(gdstk.Reference(cmim_1, (66.9,-65.6)))
switched_capacitor.add(gdstk.Reference(cmim_1, (60.4,-65.6)))
switched_capacitor.add(gdstk.Reference(cmim_1, (66.9,-78.6)))
switched_capacitor.add(gdstk.Reference(cmim_1, (60.4,-78.6)))
switched_capacitor.add(gdstk.Reference(cmim_1, (53.9,-78.6)))
switched_capacitor.add(gdstk.Reference(cmim_1, (47.4,-78.6)))
switched_capacitor.add(gdstk.Reference(cmim_1, (40.9,-78.6)))
switched_capacitor.add(gdstk.Reference(cmim_1, (34.1,-78.6)))
switched_capacitor.add(gdstk.Reference(cmim_1, (27.6,-78.6)))
switched_capacitor.add(gdstk.Reference(cmim_1, (53.9,-65.6)))
switched_capacitor.add(gdstk.Reference(cmim_1, (47.4,-65.6)))
switched_capacitor.add(gdstk.Reference(cmim_1, (40.9,-65.6)))
switched_capacitor.add(gdstk.Label('pmos', (22.185,2.405), layer=63, texttype=0))
switched_capacitor.add(gdstk.Label('nmos', (22.185,-0.835), layer=63, texttype=0))
switched_capacitor.add(gdstk.Label('pmos', (22.185,-14.165), layer=63, texttype=0))
switched_capacitor.add(gdstk.Label('nmos', (22.185,-17.405), layer=63, texttype=0))
switched_capacitor.add(gdstk.Label('pmos', (22.185,-6.625), layer=63, texttype=0))
switched_capacitor.add(gdstk.Label('nmos', (22.185,-3.385), layer=63, texttype=0))
switched_capacitor.add(gdstk.Label('pmos', (22.185,-23.175), layer=63, texttype=0))
switched_capacitor.add(gdstk.Label('nmos', (22.185,-19.935), layer=63, texttype=0))
switched_capacitor.add(gdstk.Label('pmos', (22.185,2.405), layer=51, texttype=0))
switched_capacitor.add(gdstk.Label('nmos', (22.185,-0.835), layer=51, texttype=0))
switched_capacitor.add(gdstk.Label('pmos', (22.185,-14.165), layer=51, texttype=0))
switched_capacitor.add(gdstk.Label('nmos', (22.185,-17.405), layer=51, texttype=0))
switched_capacitor.add(gdstk.Label('pmos', (22.185,-6.625), layer=51, texttype=0))
switched_capacitor.add(gdstk.Label('nmos', (22.185,-3.385), layer=51, texttype=0))
switched_capacitor.add(gdstk.Label('pmos', (22.185,-23.175), layer=51, texttype=0))
switched_capacitor.add(gdstk.Label('nmos', (22.185,-19.935), layer=51, texttype=0))
switched_capacitor.add(gdstk.Label('phi1n', (20.125,3.755), layer=8, texttype=25))
switched_capacitor.add(gdstk.Label('phi2n', (20.09,-11.95), layer=8, texttype=25))
switched_capacitor.add(gdstk.Label('gnd', (-22.285,-4.665), layer=67, texttype=25))
switched_capacitor.add(gdstk.Label('phi1', (22.16,-2.11), layer=10, texttype=25))
switched_capacitor.add(gdstk.Label('phi2', (22.165,-18.68), layer=10, texttype=25))
switched_capacitor.add(gdstk.Label('Vin', (19.27,-0.82), layer=10, texttype=25))
switched_capacitor.add(gdstk.Label('Vcm', (19.27,-3.37), layer=10, texttype=25))
switched_capacitor.add(gdstk.Label('Vfb', (19.215,-19.93), layer=10, texttype=25))

lib.write_gds('switched_capacitor.gds')
